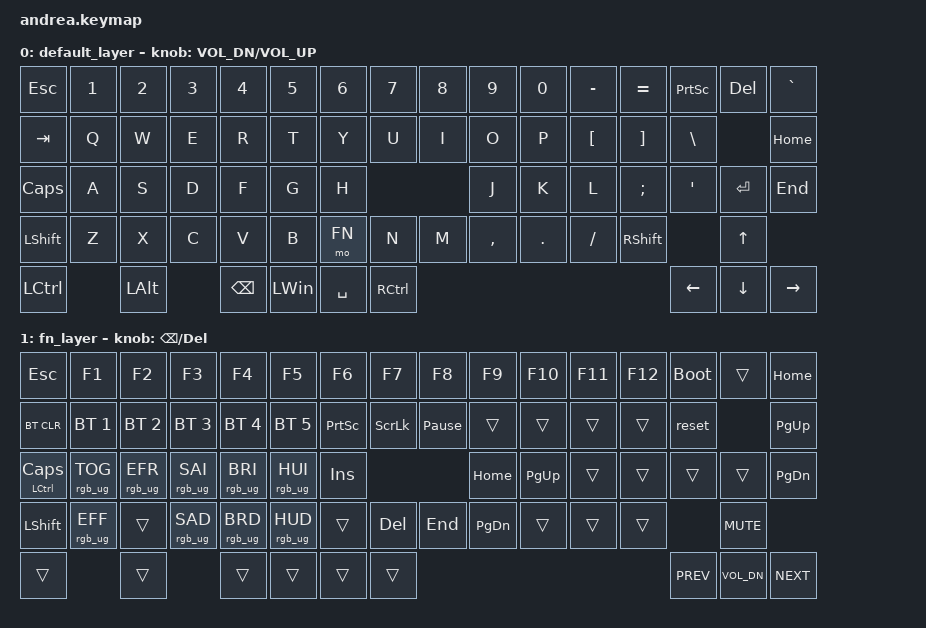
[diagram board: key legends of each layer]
#include <behaviors.dtsi>
#include <dt-bindings/zmk/keys.h>
#include <dt-bindings/zmk/bt.h>
#include <dt-bindings/zmk/outputs.h>
#include <dt-bindings/zmk/rgb.h>
#include <dt-bindings/zmk/ext_power.h>

#define FN 1

/ {
	keymap {
		compatible = "zmk,keymap";

		default_layer {
// -----------------------------------------------------------------------------------------
//   | ESC        | 1     | 2     | 3     | 4     | 5     | 6     | 7     | 8     | 9     | 0     | -     | =     | PRSC  | DEL   | GRAVE |
//   | TAB        | Q     | W     | E     | R     | T     | Y     | U     | I     | O     | P     | [     | ]     | \     |         HOME  |
// |  CAPS        | A     | S     | D     | F     | G     | H     | J     | K     | L     | ;     | '     |         ENTER |         END   |
//   | SHIFT        | Z     | X     | C     | V     | B     | MO (1)     | N     | M     | ,     | .     | /     | SHIFT |         UP    |
//   | CTRL       |         ALT   |  BSPC  |      WIN             |  SPACE  | CTRL   |                                 LEFT  | DOWN  | RIGHT |

			bindings = <
    &kp ESC          &kp NUM_1        &kp NUM_2     &kp NUM_3     &kp NUM_4     &kp NUM_5        &kp NUM_6        &kp NUM_7        &kp NUM_8        &kp NUM_9        &kp NUM_0        &kp MINUS        &kp EQL          &kp PSCRN        &kp DEL          &kp GRAVE
    &kp TAB          &kp Q            &kp W         &kp E         &kp R         &kp T            &kp Y            &kp U            &kp I            &kp O            &kp P            &kp LBKT         &kp RBKT         &kp BSLH                         &kp HOME
    &kp CAPS         &kp A            &kp S         &kp D         &kp F         &kp G            &kp H            &kp J            &kp K            &kp L            &kp SCLN         &kp QUOT                          &kp ENTER                        &kp END
    &kp LSHFT        &kp Z            &kp X         &kp C         &kp V         &kp B            &mo FN           &kp N            &kp M            &kp CMMA         &kp DOT          &kp FSLH         &kp RSHFT                         &kp UP
    &kp LCTRL                         &kp LALT                    &kp BSPC     &kp LWIN         &kp SPACE        &kp RCTRL                                                                                              &kp LEFT         &kp DOWN        &kp RIGHT
			>;
			
			sensor-bindings = <&inc_dec_kp C_VOL_DN C_VOL_UP>;
			
		};

		fn_layer {
// -----------------------------------------------------------------------------------------
//   | ESC          | F1     | F2       | F3     | F4     | F5       | F6    | F7    | F8    | F9    | F10   | F11   | F12   | BOOTLOADER  | TRANS    | HOME  |
//   | BT_CLR       |BT_SEL 1| BT_SEL 2 |BT_SEL 3|BT_SEL 4| BT_SEL 5 | PSCR  | SCLK  | PAUSE | TRANS | TRANS | TRANS | TRANS | RESET       |            PGUP  |
//   |MT(LCTRL,CAPS)|RGB_TOG |  RGB_EFR |RGB_SAI |RGB_BRI | RGB_HUI  | INS   | HOME  | PG_UP | TRANS | TRANS | TRANS |         TRANS       |            PGDN  |
//   | SHIFT        | RGB_EFF| TRANS    |RGB_SAD |RGB_BRD | RGB_HUD  | TRANS | DEL   | END   | PG_DN | TRANS | TRANS | TRANS |               MUTE     |
//   | TRANS        |         TRANS   |         TRANS | TRANS    |         TRANS | TRANS  |                                            PREV T | C_VOL_DN |  NEXT T |

			bindings = <
    &kp ESC          &kp F1           &kp F2           &kp F3          &kp F4          &kp F5            &kp F6           &kp F7           &kp F8           &kp F9           &kp F10          &kp F11          &kp F12          &bootloader      &trans         &kp HOME
    &bt BT_CLR       &bt BT_SEL 1     &bt BT_SEL 2     &bt BT_SEL 3    &bt BT_SEL 4    &bt BT_SEL 5      &kp PSCRN        &kp SLCK         &kp PAUSE_BREAK  &trans           &trans           &trans           &trans           &reset                          &kp PG_UP
    &mt LCTRL CAPS   &rgb_ug RGB_TOG  &rgb_ug RGB_EFR  &rgb_ug RGB_SAI &rgb_ug RGB_BRI &rgb_ug RGB_HUI   &kp INS          &kp HOME         &kp PG_UP        &trans           &trans           &trans                            &trans                          &kp PG_DN
    &kp LSHFT        &rgb_ug RGB_EFF  &trans           &rgb_ug RGB_SAD &rgb_ug RGB_BRD &rgb_ug RGB_HUD   &trans           &kp DEL          &kp END          &kp PG_DN        &trans           &trans           &trans                            &kp C_MUTE
    &trans                            &trans                        &trans          &trans        &trans           &trans                                                                                            &kp C_PREV         &kp C_VOL_DN      &kp C_NEXT        
			>;

			sensor-bindings = <&inc_dec_kp BKSP   DEL>;

		};

	};
};
